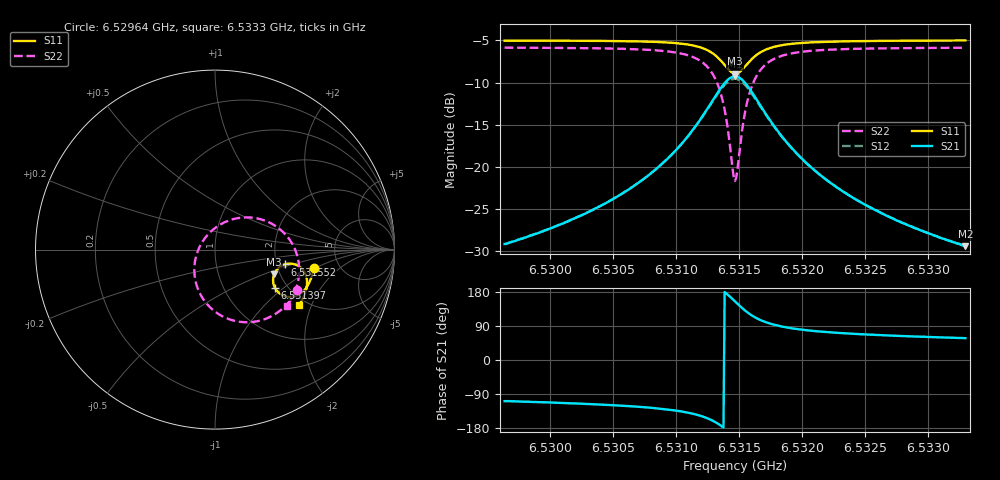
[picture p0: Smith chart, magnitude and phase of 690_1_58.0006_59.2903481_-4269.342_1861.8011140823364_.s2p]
#  HZ  S  RI  R  50.00
! Rohde & Schwarz Vector Network Analyzer
! Rohde-Schwarz,ZNB20-2Port,1311601062101988,3.16
! Created: UTC 3/21/2024, 1:21:13 AM
! freq[Hz]  re:S11  im:S11  re:S21  im:S21  re:S12  im:S12  re:S22  im:S22
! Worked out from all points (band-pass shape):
!   401 points, 6.52964 GHz to 6.5333 GHz, reference 50 ohm
!   highest |S21| = -9.27 dB at 6.53147 GHz (marker M1); lowest = -29.4 dB at 6.5333 GHz (marker M2)
!   |S21| within 3 dB of the highest: 6.531286 GHz to 6.531652 GHz (366 kHz wide, 0.0056 % of centre)
!   lowest |S11| = -8.9 dB at 6.53147 GHz (marker M3), VSWR 2.11, Z = 93 - j29.5 ohm
!   |S11| at or under -10 dB: nowhere
!   |S22| runs from -21.7 to -5.9 dB; largest |S21 - S12| = 0.015
!   S11 on the Smith chart (normalised r, x): 6.52964 GHz: 3.23, -0.97; 6.531397 GHz: 1.72, -0.86; 6.531552 GHz: 2.21, -0.43; 6.5333 GHz: 1.82, -1.64
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6.5296398e9  0.5507 -0.1033  -0.0112 -0.0331  -0.0116 -0.0328  0.4577 -0.2227
6.5302528e9  0.537 -0.1553  -0.0223 -0.0467  -0.0234 -0.0462  0.4208 -0.2809
6.5306006e9  0.5232 -0.1889  -0.0371 -0.0611  -0.0388 -0.0602  0.382 -0.3235
6.5308659e9  0.504 -0.2193  -0.0619 -0.079  -0.0644 -0.0773  0.3264 -0.3647
6.5310855e9  0.4711 -0.2488  -0.1109 -0.0989  -0.114 -0.0949  0.2289 -0.4004
6.5312411e9  0.4195 -0.2639  -0.1913 -0.0996  -0.1933 -0.0909  0.0835 -0.3895
6.5313326e9  0.3685 -0.2503  -0.2694 -0.0589  -0.2666 -0.0472  -0.0428 -0.3053
6.5313692e9  0.3468 -0.232  -0.3011 -0.0213  -0.2946 -0.00935  -0.0883 -0.2356
6.5313966e9  0.3331 -0.2116  -0.3193 0.0174  -0.3099 0.0284  -0.1101 -0.1674
6.5314515e9  0.3245 -0.1576  -0.3226 0.1148  -0.309 0.1199  -0.0959 -0.0076
6.5314698e9  0.3294 -0.1385  -0.3109 0.1475  -0.297 0.1503  -0.0704 0.0434
6.5314881e9  0.338 -0.121  -0.2927 0.1774  -0.2793 0.1778  -0.0353 0.0884
6.5315247e9  0.3641 -0.094  -0.2432 0.2223  -0.2323 0.219  0.0536 0.1524
6.5315522e9  0.3875 -0.0825  -0.201 0.2408  -0.1926 0.2361  0.1261 0.1751
6.5315888e9  0.4178 -0.0781  -0.1479 0.2476  -0.1422 0.2426  0.2154 0.177
6.5316254e9  0.4436 -0.082  -0.1034 0.2409  -0.0997 0.2365  0.2886 0.1574
6.5317352e9  0.4898 -0.1133  -0.0252 0.1936  -0.0237 0.1916  0.4127 0.0597
6.5318633e9  0.5084 -0.1489  0.00771 0.1448  0.00915 0.1439  0.4592 -0.0371
6.5320829e9  0.5129 -0.1917  0.0221 0.0956  0.0232 0.0954  0.4685 -0.1369
6.5323391e9  0.507 -0.2254  0.0235 0.0666  0.0246 0.0662  0.4566 -0.2018
6.532696e9  0.4946 -0.2604  0.0216 0.0457  0.0224 0.0453  0.4351 -0.2562
6.5332999e9  0.4702 -0.3073  0.0182 0.0286  0.0188 0.0283  0.4001 -0.3135
